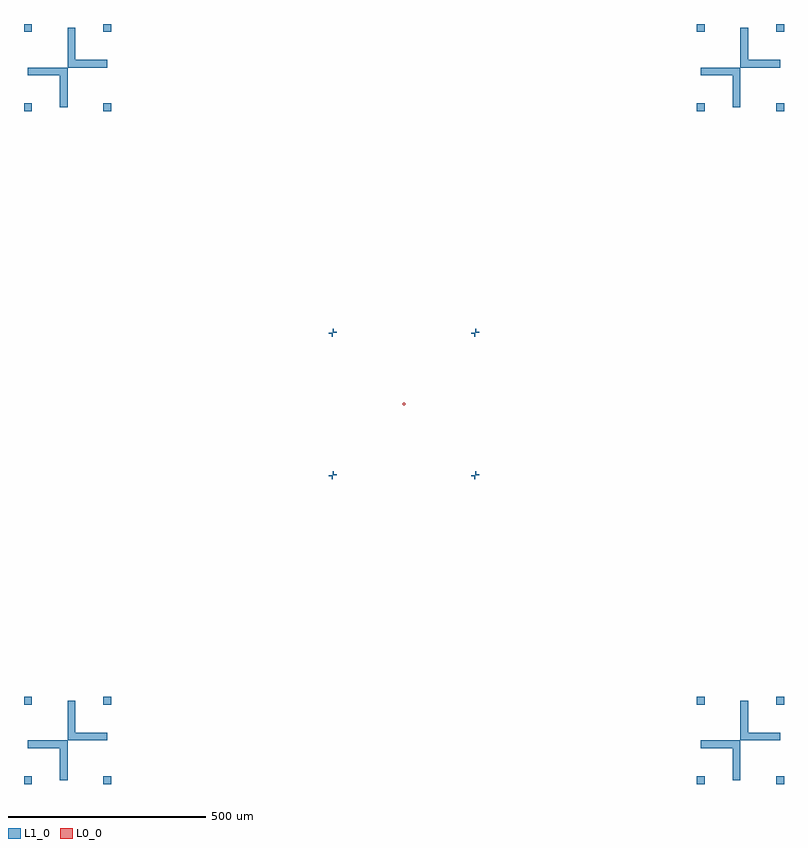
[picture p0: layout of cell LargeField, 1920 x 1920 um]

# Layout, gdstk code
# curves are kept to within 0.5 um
import gdstk
lib = gdstk.Library(unit=1e-6, precision=1e-09)
def R(c, l, rs):  # rectangles x0, y0, x1, y1
    for r in rs: c.add(gdstk.rectangle(r[:2], r[2:], *l))
def P(c, l, *ps):  # polygons
    for p in ps: c.add(gdstk.Polygon(p, *l))
L0_0 = (0, 0)
L1_0 = (1, 0)

joymarker_fouq4og = lib.new_cell('JOYMarker_foUq4og')
P(joymarker_fouq4og, L1_0, [(0,0),(100,0),(100,20),(20,20),(20,100),(0,100),(0,0),(0,0),(-100,0),(-100,-20),(-20,-20),(-20,-100),(0,-100)])

campsmarker = lib.new_cell('CAMPSMarker')
R(campsmarker, L1_0, [(-10,-10,10,10)])

alignmentmark_fokf8ja = lib.new_cell('AlignmentMark_foKf8JA')
alignmentmark_fokf8ja.add(gdstk.Reference(joymarker_fouq4og, (0,0)))
alignmentmark_fokf8ja.add(gdstk.Reference(campsmarker, (100,100)))
alignmentmark_fokf8ja.add(gdstk.Reference(campsmarker, (100,-100)))
alignmentmark_fokf8ja.add(gdstk.Reference(campsmarker, (-100,100)))
alignmentmark_fokf8ja.add(gdstk.Reference(campsmarker, (-100,-100)))

alignmarkers_fouq4uo = lib.new_cell('AlignMarkers_foUq4uo')
alignmarkers_fouq4uo.add(gdstk.Reference(alignmentmark_fokf8ja, (850,-850)))
alignmarkers_fouq4uo.add(gdstk.Reference(alignmentmark_fokf8ja, (-850,-850)))
alignmarkers_fouq4uo.add(gdstk.Reference(alignmentmark_fokf8ja, (850,850)))
alignmarkers_fouq4uo.add(gdstk.Reference(alignmentmark_fokf8ja, (-850,850)))

joymarker_fouq44q = lib.new_cell('JOYMarker_foUq44Q')
P(joymarker_fouq44q, L1_0, [(0,0),(10,0),(10,2),(2,2),(2,10),(0,10),(0,0),(0,0),(-10,0),(-10,-2),(-2,-2),(-2,-10),(0,-10)])

alignmentmark_fouq4z4 = lib.new_cell('AlignmentMark_foUq4z4')
alignmentmark_fouq4z4.add(gdstk.Reference(joymarker_fouq44q, (0,0)))

alignmarkers_fouq42g = lib.new_cell('AlignMarkers_foUq42g')
alignmarkers_fouq42g.add(gdstk.Reference(alignmentmark_fouq4z4, (180,-180)))
alignmarkers_fouq42g.add(gdstk.Reference(alignmentmark_fouq4z4, (-180,-180)))
alignmarkers_fouq42g.add(gdstk.Reference(alignmentmark_fouq4z4, (180,180)))
alignmarkers_fouq42g.add(gdstk.Reference(alignmentmark_fouq4z4, (-180,180)))

cross_nw50_tw10_l10_tl0x = lib.new_cell('Cross_NW50_TW10_L10_TL0xNW50_TW100_L10_TL0')
P(cross_nw50_tw10_l10_tl0x, L0_0, [(0.05,0.005),(0.3,0.025),(5.05,0.025),(5.05,-0.025),(0.3,-0.025),(0.05,-0.005),(0.025,-0.25),(0.025,-5.005),(-0.025,-5.005),(-0.025,-0.25),(-0.05,-0.005),(-0.3,-0.025),(-5.05,-0.025),(-5.05,0.025),(-0.3,0.025),(-0.05,0.005),(-0.025,0.25),(-0.025,5.005),(0.025,5.005),(0.025,0.25)])

smallfield1 = lib.new_cell('SmallField1')
smallfield1.add(gdstk.Reference(alignmarkers_fouq42g, (0,0)))
smallfield1.add(gdstk.Reference(cross_nw50_tw10_l10_tl0x, (0,0)))

joymarker_fourpiy = lib.new_cell('JOYMarker_foUrPiY')
P(joymarker_fourpiy, L1_0, [(0,0),(10,0),(10,2),(2,2),(2,10),(0,10),(0,0),(0,0),(-10,0),(-10,-2),(-2,-2),(-2,-10),(0,-10)])

alignmentmark_fourpea = lib.new_cell('AlignmentMark_foUrPeA')
alignmentmark_fourpea.add(gdstk.Reference(joymarker_fourpiy, (0,0)))

alignmarkers_fourpgo = lib.new_cell('AlignMarkers_foUrPgo')
alignmarkers_fourpgo.add(gdstk.Reference(alignmentmark_fourpea, (180,-180)))
alignmarkers_fourpgo.add(gdstk.Reference(alignmentmark_fourpea, (-180,-180)))
alignmarkers_fourpgo.add(gdstk.Reference(alignmentmark_fourpea, (180,180)))
alignmarkers_fourpgo.add(gdstk.Reference(alignmentmark_fourpea, (-180,180)))

centeralignfield = lib.new_cell('CenterAlignField')
centeralignfield.add(gdstk.Reference(alignmarkers_fourpgo, (0,0)))

largefield = lib.new_cell('LargeField')
largefield.add(gdstk.Reference(alignmarkers_fouq4uo, (0,0)))
largefield.add(gdstk.Reference(smallfield1, (0,0)))
largefield.add(gdstk.Reference(centeralignfield, (0,0)))

lib.write_gds('LargeField.gds')
